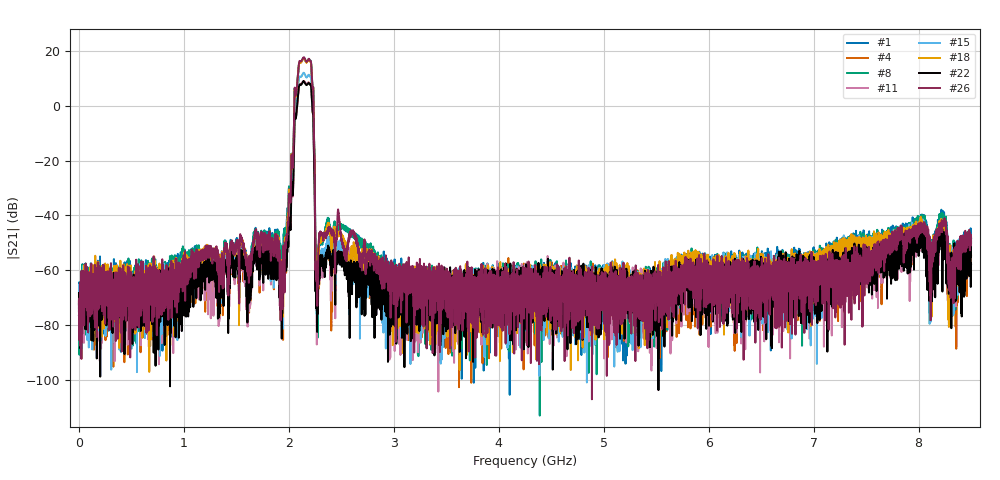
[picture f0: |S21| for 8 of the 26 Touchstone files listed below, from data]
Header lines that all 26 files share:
#  HZ  S  RI  R  50.00
! Rohde & Schwarz Vector Network Analyzer
! Rohde-Schwarz,ZNBT8-20Port,1318700624101681,3.50
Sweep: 1 MHz to 8.5 GHz
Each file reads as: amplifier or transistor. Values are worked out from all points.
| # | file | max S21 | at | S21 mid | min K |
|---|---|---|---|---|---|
| 1 | X_ANT1_B1@1_(G0).s2p | 17.5 dB | 2.144 GHz | -67.3 dB at 4.251 GHz | 5.65 |
| 2 | X_ANT1_B1@1_(G0H).s2p | 17.9 dB | 2.141 GHz | -70.1 dB at 4.251 GHz | 5.39 |
| 3 | X_ANT1_B1@1_(G2).s2p | 12.2 dB | 2.144 GHz | -77.9 dB at 4.251 GHz | 14.51 |
| 4 | X_ANT1_B1@1_(G3).s2p | 9.1 dB | 2.144 GHz | -70.9 dB at 4.251 GHz | 10.10 |
| 5 | X_ANT1_B1@2_(G0).s2p | 17.5 dB | 2.144 GHz | -70.4 dB at 4.251 GHz | 5.54 |
| 6 | X_ANT1_B1@2_(G2).s2p | 12.2 dB | 2.142 GHz | -68.0 dB at 4.251 GHz | 15.11 |
| 7 | X_ANT1_B1@2_(G3).s2p | 9.0 dB | 2.143 GHz | -66.0 dB at 4.251 GHz | 10.13 |
| 8 | X_ANT1_B1@3_(G0).s2p | 17.5 dB | 2.144 GHz | -65.0 dB at 4.251 GHz | 5.29 |
| 9 | X_ANT1_B1@3_(G0H).s2p | 18.0 dB | 2.144 GHz | -63.2 dB at 4.251 GHz | 5.05 |
| 10 | X_ANT1_B1@3_(G1).s2p | 15.0 dB | 2.143 GHz | -62.5 dB at 4.251 GHz | 8.95 |
| 11 | X_ANT1_B1@3_(G3).s2p | 9.1 dB | 2.142 GHz | -65.7 dB at 4.251 GHz | 9.83 |
| 12 | X_ANT1_B1@4_(G0H).s2p | 17.9 dB | 2.144 GHz | -67.0 dB at 4.251 GHz | 5.30 |
| 13 | X_ANT1_B1[B7]@1_(G0).s2p | 17.4 dB | 2.144 GHz | -65.9 dB at 4.251 GHz | 5.72 |
| 14 | X_ANT1_B1[B7]@1_(G1).s2p | 14.9 dB | 2.144 GHz | -67.1 dB at 4.251 GHz | 9.05 |
| 15 | X_ANT1_B1[B7]@1_(G2).s2p | 12.1 dB | 2.143 GHz | -73.0 dB at 4.251 GHz | 15.37 |
| 16 | X_ANT1_B1[B7]@2_(G0).s2p | 17.4 dB | 2.144 GHz | -81.2 dB at 4.251 GHz | 5.58 |
| 17 | X_ANT1_B1[B7]@2_(G0H).s2p | 17.8 dB | 2.144 GHz | -71.6 dB at 4.251 GHz | 5.32 |
| 18 | X_ANT1_B1[B7]@3_(G0).s2p | 17.5 dB | 2.143 GHz | -64.5 dB at 4.251 GHz | 5.53 |
| 19 | X_ANT1_B1[B7]@3_(G0H).s2p | 17.9 dB | 2.142 GHz | -62.5 dB at 4.251 GHz | 5.45 |
| 20 | X_ANT1_B1[B7]@4_(G0).s2p | 17.4 dB | 2.14 GHz | -71.4 dB at 4.251 GHz | 5.50 |
| 21 | X_ANT1_B1[B7]@4_(G1).s2p | 14.9 dB | 2.144 GHz | -62.0 dB at 4.251 GHz | 9.16 |
| 22 | X_ANT1_B1[B7]@4_(G3).s2p | 8.9 dB | 2.14 GHz | -75.7 dB at 4.251 GHz | 10.29 |
| 23 | X_ANT1_B1[B41]@1_(G0H).s2p | 17.9 dB | 2.144 GHz | -62.9 dB at 4.251 GHz | 5.46 |
| 24 | X_ANT1_B1[B41]@1_(G2).s2p | 12.1 dB | 2.144 GHz | -65.6 dB at 4.251 GHz | 15.75 |
| 25 | X_ANT1_B1[B41]@2_(G0).s2p | 17.4 dB | 2.143 GHz | -71.3 dB at 4.251 GHz | 5.63 |
| 26 | X_ANT1_B1[B41]@2_(G0H).s2p | 17.8 dB | 2.145 GHz | -68.1 dB at 4.251 GHz | 5.34 |
